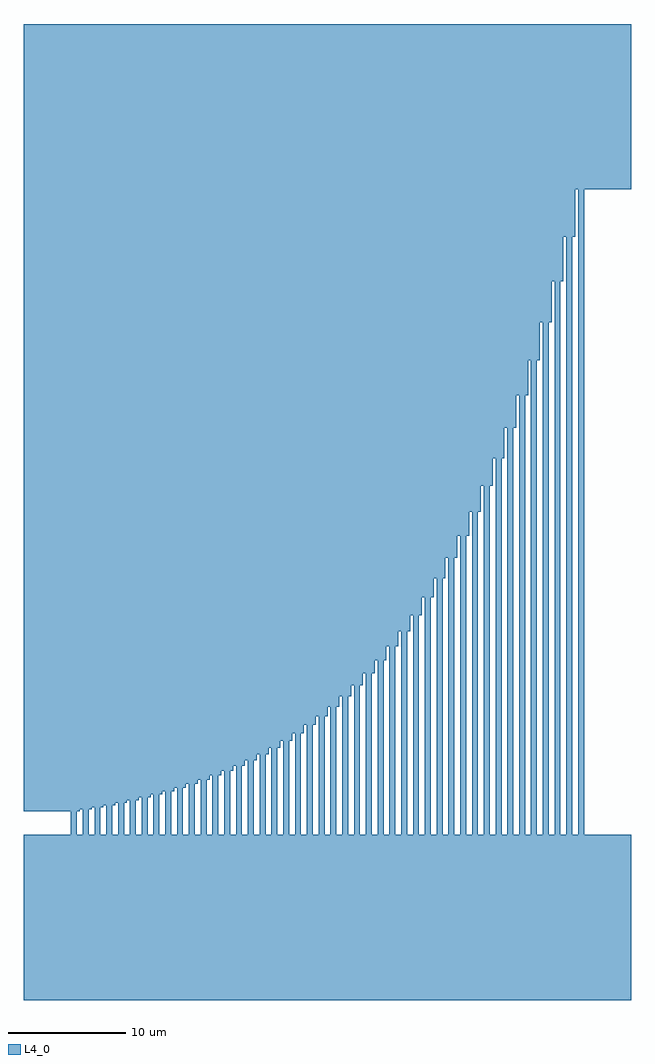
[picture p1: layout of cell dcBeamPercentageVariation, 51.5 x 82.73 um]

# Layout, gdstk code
import gdstk
lib = gdstk.Library(unit=1e-6, precision=1e-09)
def R(c, l, rs):  # rectangles x0, y0, x1, y1
    for r in rs: c.add(gdstk.rectangle(r[:2], r[2:], *l))
def P(c, l, *ps):  # polygons
    for p in ps: c.add(gdstk.Polygon(p, *l))
L4_0 = (4, 0)

dcbeampercentagevariatio = lib.new_cell('dcBeamPercentageVariation')
R(dcbeampercentagevariatio, L4_0, [(0,0,51.5,14), (4,14,4.5,16), (5,14,5.5,16.16), (6,14,6.5,16.333), (7,14,7.5,16.519), (8,14,8.5,16.721), (9,14,9.5,16.939), (10,14,10.5,17.174), (11,14,11.5,17.428), (12,14,12.5,17.702), (13,14,13.5,17.998), (14,14,14.5,18.318), (15,14,15.5,18.663), (16,14,16.5,19.036), (17,14,17.5,19.439), (18,14,18.5,19.874), (19,14,19.5,20.344), (20,14,20.5,20.852), (21,14,21.5,21.4), (22,14,22.5,21.992), (23,14,23.5,22.631), (24,14,24.5,23.322), (25,14,25.5,24.068), (26,14,26.5,24.873), (27,14,27.5,25.743), (28,14,28.5,26.682), (29,14,29.5,27.697), (30,14,30.5,28.793), (31,14,31.5,29.976), (32,14,32.5,31.254), (33,14,33.5,32.635), (34,14,34.5,34.125), (35,14,35.5,35.735), (36,14,36.5,37.474), (37,14,37.5,39.352), (38,14,38.5,41.38), (39,14,39.5,43.571), (40,14,40.5,45.936), (41,14,41.5,48.491), (42,14,42.5,51.251), (43,14,43.5,54.231), (44,14,44.5,57.449), (45,14,45.5,60.925), (46,14,46.5,64.679), (47,14,47.5,68.733)])
P(dcbeampercentagevariatio, L4_0, [(0,16),(0,82.733),(5.75,82.733),(6.75,82.733),(8.75,82.733),(9.75,82.733),(13.75,82.733),(14.75,82.733),(51.5,82.733),(51.5,68.733),(46.75,68.733),(46.75,64.679),(45.75,64.679),(45.75,60.925),(44.75,60.925),(44.75,57.449),(43.75,57.449),(43.75,54.231),(42.75,54.231),(42.75,51.251),(41.75,51.251),(41.75,48.491),(40.75,48.491),(40.75,45.936),(39.75,45.936),(39.75,43.571),(38.75,43.571),(38.75,41.38),(37.75,41.38),(37.75,39.352),(36.75,39.352),(36.75,37.474),(35.75,37.474),(35.75,35.735),(34.75,35.735),(34.75,34.125),(33.75,34.125),(33.75,32.635),(32.75,32.635),(32.75,31.254),(31.75,31.254),(31.75,29.976),(30.75,29.976),(30.75,28.793),(29.75,28.793),(29.75,27.697),(28.75,27.697),(28.75,26.682),(27.75,26.682),(27.75,25.743),(26.75,25.743),(26.75,24.873),(25.75,24.873),(25.75,24.068),(24.75,24.068),(24.75,23.322),(23.75,23.322),(23.75,22.631),(22.75,22.631),(22.75,21.992),(21.75,21.992),(21.75,21.4),(20.75,21.4),(20.75,20.852),(19.75,20.852),(19.75,20.344),(18.75,20.344),(18.75,19.874),(17.75,19.874),(17.75,19.439),(16.75,19.439),(16.75,19.036),(15.75,19.036),(15.75,18.663),(14.75,18.663),(14.75,18.318),(13.75,18.318),(13.75,17.998),(12.75,17.998),(12.75,17.702),(11.75,17.702),(11.75,17.428),(10.75,17.428),(10.75,17.174),(9.75,17.174),(9.75,16.939),(8.75,16.939),(8.75,16.721),(7.75,16.721),(7.75,16.519),(6.75,16.519),(6.75,16.333),(5.75,16.333),(5.75,16.16),(4.75,16.16),(4.75,16)])

lib.write_gds('dcBeamPercentageVariation.gds')
